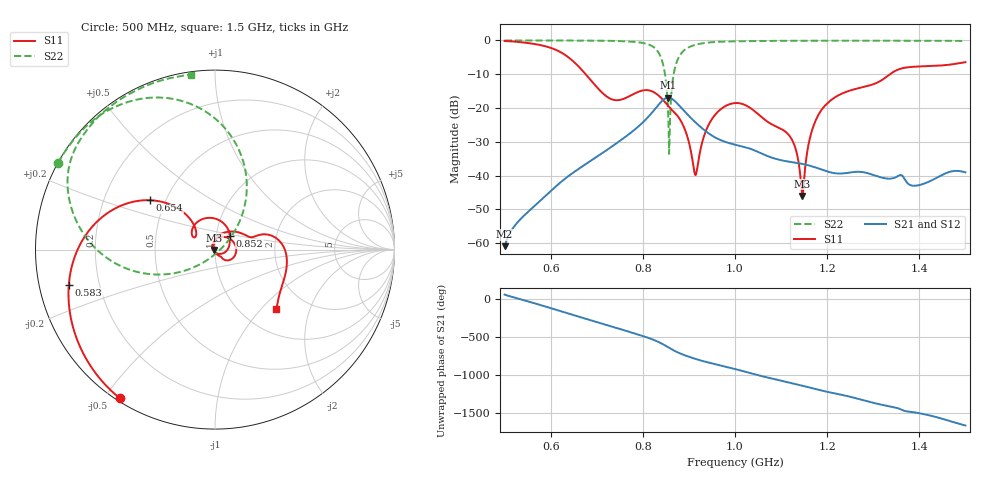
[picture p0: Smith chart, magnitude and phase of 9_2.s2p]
! TOUCHSTONE file generated by CST MICROWAVE STUDIO
! Date and time: Fri Oct  2 16:31:55 2020
! Project name: Scenario_1_Free_Space_out_of_line.cst
! Parameters = {Lambda=346.42; Step_1=17.321; dy1=208.912; dx1=346; L_HA=400; MT=2.54; Rad_Dielectric=30; Rad_Lower=7.3; Rad_Upper=30; a_HA=580; a_WG=246; b_HA=500; b_WG=121; c_HA=0; c_WG=187; d_feed=85; h_feed=15; h_lower=18; h_upper=40}
! Header version: 2018
! Port assignment regex: !\s*Touchstone port\s*([0-9]+)\s*=\s*(CST MWS port|CST DS port)\s*([0-9]+|Zmin|Zmax)\s*\(\"(.*)\"\)(\s*mode\s*([0-9]+))?.*
! Touchstone port assignment:
! Touchstone port 1 = CST MWS port 1 ("")
! Touchstone port 2 = CST MWS port 2 ("")
# GHz S DB R 50
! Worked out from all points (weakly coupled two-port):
!   1003 points, 500 MHz to 1.5 GHz, reference 50 ohm
!   highest |S21| = -16.94 dB at 855 MHz (marker M1); lowest = -60.9 dB at 500 MHz (marker M2)
!   lowest |S11| = -46.0 dB at 1.146 GHz (marker M3), VSWR 1.01, Z = 49.5 - j0.206 ohm
!   |S11| at or under -10 dB: 675.8 MHz to 1.336 GHz (660.5 MHz wide, 65.7 % of centre)
!   |S22| runs from -33.6 to 0.0 dB; largest |S21 - S12| = 4e-05
!   S11 on the Smith chart (normalised r, x): 500 MHz: 0.01, -0.55; 583 MHz: 0.09, -0.12; 654 MHz: 0.41, +0.28; 852 MHz: 1.16, +0.18; 1.5 GHz: 1.43, -1.22
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0.5  -0.15 -122.7  -60.92 63.6  -60.92 63.6  -0.01 151.1
0.583  -1.54 -166.6  -46.72 -84.7  -46.72 -84.7  -0.02 145.4
0.654  -6.83 142.8  -38.66 142.9  -38.66 142.9  -0.04 139.5
0.667  -8.65 135.9  -37.45 119.0  -37.45 119.0  -0.04 138.3
0.734  -17.50 141.8  -31.30 -2.4  -31.30 -2.4  -0.14 130.0
0.795  -14.98 130.2  -24.91 -116.5  -24.91 -116.5  -0.63 114.9
0.834  -16.30 71.2  -19.07 155.4  -19.07 155.4  -3.57 83.9
0.846  -17.95 51.9  -17.42 117.7  -17.42 117.7  -8.35 62.4
0.852  -18.92 43.1  -17.00 96.5  -17.00 96.5  -14.62 46.8
0.855  -19.40 39.0  -16.94 85.7  -16.94 85.7  -21.86 32.3
0.86  -20.17 32.2  -17.07 67.8  -17.07 67.8  -19.98 -132.8
0.867  -21.12 22.2  -17.67 44.1  -17.67 44.1  -9.93 -154.3
0.876  -22.49 6.3  -18.86 16.9  -18.86 16.9  -5.55 -169.7
0.914  -39.87 -142.7  -24.23 -68.6  -24.23 -68.6  -1.29 160.7
0.947  -23.94 78.9  -27.91 -124.1  -27.91 -124.1  -0.56 149.8
1  -18.54 1.1  -30.87 157.1  -30.87 157.1  -0.26 140.1
1.116  -27.88 -57.9  -35.88 -19.9  -35.88 -19.9  -0.11 128.3
1.146  -46.03 -155.4  -36.56 -65.0  -36.56 -65.0  -0.10 125.8
1.167  -26.70 91.3  -37.28 -97.6  -37.28 -97.6  -0.10 124.1
1.212  -17.30 47.8  -39.22 -160.4  -39.22 -160.4  -0.09 120.6
1.334  -10.23 15.7  -40.94 24.4  -40.94 24.4  -0.09 111.4
1.5  -6.44 -44.1  -39.06 129.5  -39.05 129.5  -0.14 97.9
